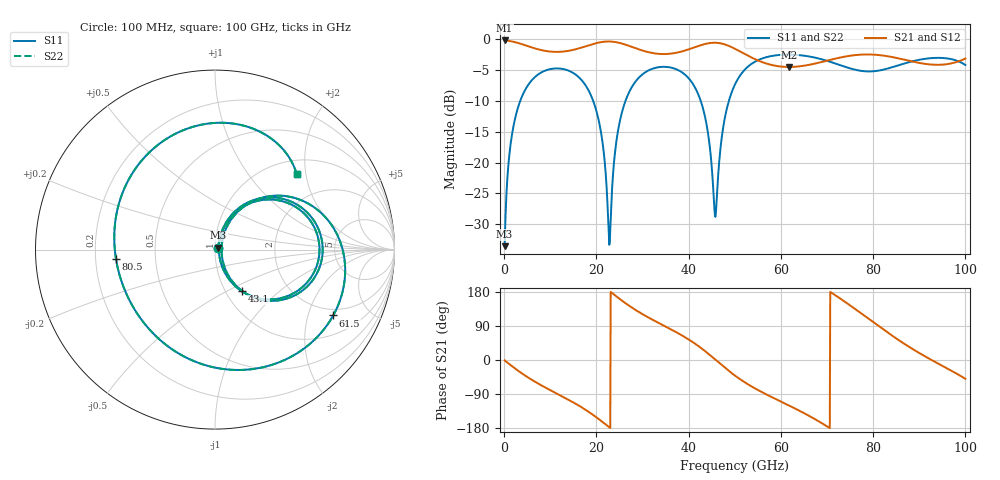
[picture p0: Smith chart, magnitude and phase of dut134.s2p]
! Touchstone file exported from HFSS 2026.1.0
!  File:  C:/ffzhzh/LocalFiles/Ansys_Project_Files/temp_train_TSV_RDL_134_1783461236_34316.aedt
!  Generated:  06:04:56 AM Jul  8, 2026
!  Design:  TSV_RDL
!  Project:  temp_train_TSV_RDL_134_1783461236_34316
! Variables:
!  h_bsmrdl = 2.02um
!  h_ox = 20um
!  h_rdl = 5um
!  h_sub = 86.79um
!  h_tmrdl = 4.61um
!  h_tsv = 86.79um
!  h_via = 3um
!  l_bsmrdl = 443.84um
!  l_sub = 2409.32um
!  l_tmrdl = 144.19um
!  m_sub = 200um
!  pitch = 57.38um
!  r_tsv = 11.59um
!  s_tmrdl = 10um
!  w_bsmrdl = 15.96um
!  w_sub = 500um
!  w_tmrdl = 17.72um
!  x_tsv_center1 = 153.05um
!  x_tsv_center2 = 612.85um
!  x_tsv_center3 = 774.76um
!  x_tsv_center4 = 1234.56um
!  x_tsv_center5 = 1396.47um
!  x_tsv_center6 = 1856.27um
# GHz S MA R 50.000000
! Terminal data exported
! Port[1] = TM_RDL1_1_T1
! Port[2] = TM_RDL5_1_T1
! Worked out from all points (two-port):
!   1000 points, 100 MHz to 100 GHz, reference 50 ohm
!   highest |S21| = -0.16 dB at 100 MHz (marker M1); lowest = -4.5 dB at 61.8 GHz (marker M2)
!   |S21| within 3 dB of the highest: start of sweep to 54.28 GHz; 71.53 GHz to 86.04 GHz (14.51 GHz wide, 18.4 % of centre)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
!   lowest |S11| = -33.6 dB at 100 MHz (marker M3), VSWR 1.04, Z = 51.8 + j1.08 ohm
!   |S11| at or under -10 dB: start of sweep to 3.474 GHz; 19.32 GHz to 26.29 GHz (6.979 GHz wide, 30.6 % of centre); 42.63 GHz to 48.71 GHz (6.084 GHz wide, 13.3 % of centre)
!   |S22| runs from -33.6 to -2.5 dB; largest |S21 - S12| = 1.7e-14
!   S11 on the Smith chart (normalised r, x): 100 MHz: 1.04, +0.02; 43.1 GHz: 1.19, -0.60; 61.5 GHz: 1.72, -2.92; 80.5 GHz: 0.29, -0.04; 100 GHz: 1.29, +1.78
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0.1  0.02098 29.7  0.9819 -1.0  0.9819 -1.0  0.02098 29.7
! Gamma 0 0 0 0
! Port Impedance 50 0 50 0
1.6  0.1598 66.6  0.9651 -15.4  0.9651 -15.4  0.1598 66.6
4.4  0.3799 46.6  0.9018 -39.9  0.9018 -39.9  0.3799 46.6
10.7  0.5803 4.6  0.794 -84.0  0.794 -84.0  0.5803 4.5
16.8  0.4676 -34.6  0.8601 -124.8  0.8601 -124.8  0.4675 -34.6
20.7  0.2031 -63.3  0.9471 -157.6  0.9471 -157.6  0.2031 -63.3
22.8  0.02155 -3.5  0.9631 -177.6  0.9631 -177.6  0.02147 -3.5
26  0.2935 57.7  0.9154 152.6  0.9154 152.6  0.2935 57.7
33.4  0.5949 7.3  0.7652 98.4  0.7652 98.4  0.5949 7.3
43.1  0.2764 -56.7  0.9097 27.8  0.9097 27.8  0.2764 -56.6
45.8  0.03627 3.9  0.9408 0.9  0.9408 0.9  0.0371 3.9
47.6  0.205 61.3  0.9174 -17.7  0.9174 -17.7  0.2053 61.0
50.1  0.4357 43.4  0.8382 -41.6  0.8382 -41.6  0.4359 43.3
55.6  0.6934 5.1  0.6624 -83.0  0.6624 -83.0  0.6935 5.0
61.5  0.7539 -29.1  0.5984 -118.6  0.5984 -118.6  0.7541 -29.2
61.8  0.7539 -30.8  0.5983 -120.4  0.5983 -120.4  0.754 -30.9
66.7  0.7213 -60.9  0.6288 -151.4  0.6288 -151.4  0.7214 -61.0
73.7  0.6038 -113.7  0.7239 155.2  0.7239 155.2  0.6039 -113.7
80.5  0.5541 -174.6  0.7518 95.6  0.7518 95.6  0.5542 -174.4
83.4  0.5845 159.5  0.7284 70.3  0.7284 70.3  0.5846 159.7
91.9  0.7017 94.6  0.6293 5.2  0.6293 5.2  0.7017 94.7
100  0.6204 42.9  0.7 -49.7  0.7 -49.7  0.6204 42.9
